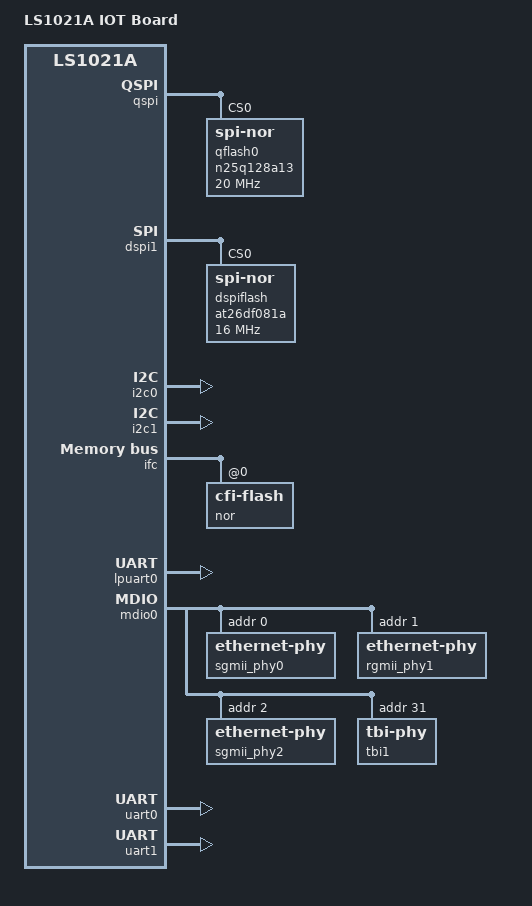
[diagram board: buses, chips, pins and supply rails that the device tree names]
// SPDX-License-Identifier: GPL-2.0+
/*
 * Freescale ls1021a IOT board device tree source
 *
 * Copyright 2016 Freescale Semiconductor, Inc.
 */


#include "ls1021a.dtsi"

/ {
	model = "LS1021A IOT Board";

	aliases {
		enet2-rgmii-phy = &rgmii_phy1;
		enet0-sgmii-phy = &sgmii_phy2;
		enet1-sgmii-phy = &sgmii_phy0;
		spi0 = &qspi;
		spi1 = &dspi1;
	};
};

&qspi {
	bus-num = <0>;
	status = "okay";

	qflash0: n25q128a13@0 {
		#address-cells = <1>;
		#size-cells = <1>;
		compatible = "jedec,spi-nor";
		spi-max-frequency = <20000000>;
		reg = <0>;
	};
};

&dspi1 {
	bus-num = <0>;
	status = "okay";

	dspiflash: at26df081a@0 {
		#address-cells = <1>;
		#size-cells = <1>;
		compatible = "jedec,spi-nor";
		spi-max-frequency = <16000000>;
		spi-cpol;
		spi-cpha;
		reg = <0>;
	};
};

&i2c0 {
	status = "okay";
};

&i2c1 {
	status = "okay";
};

&ifc {
	#address-cells = <2>;
	#size-cells = <1>;
	/* NOR Flash on board */
	ranges = <0x0 0x0 0x60000000 0x08000000>;
	status = "okay";

	nor@0,0 {
		#address-cells = <1>;
		#size-cells = <1>;
		compatible = "cfi-flash";
		reg = <0x0 0x0 0x8000000>;
		bank-width = <2>;
		device-width = <1>;
	};
};

&lpuart0 {
	status = "okay";
};

&mdio0 {
	sgmii_phy0: ethernet-phy@0 {
		reg = <0x0>;
	};
	rgmii_phy1: ethernet-phy@1 {
		reg = <0x1>;
	};
	sgmii_phy2: ethernet-phy@2 {
		reg = <0x2>;
	};
	tbi1: tbi-phy@1f {
		reg = <0x1f>;
		device_type = "tbi-phy";
	};
};

&uart0 {
	status = "okay";
};

&uart1 {
	status = "okay";
};
